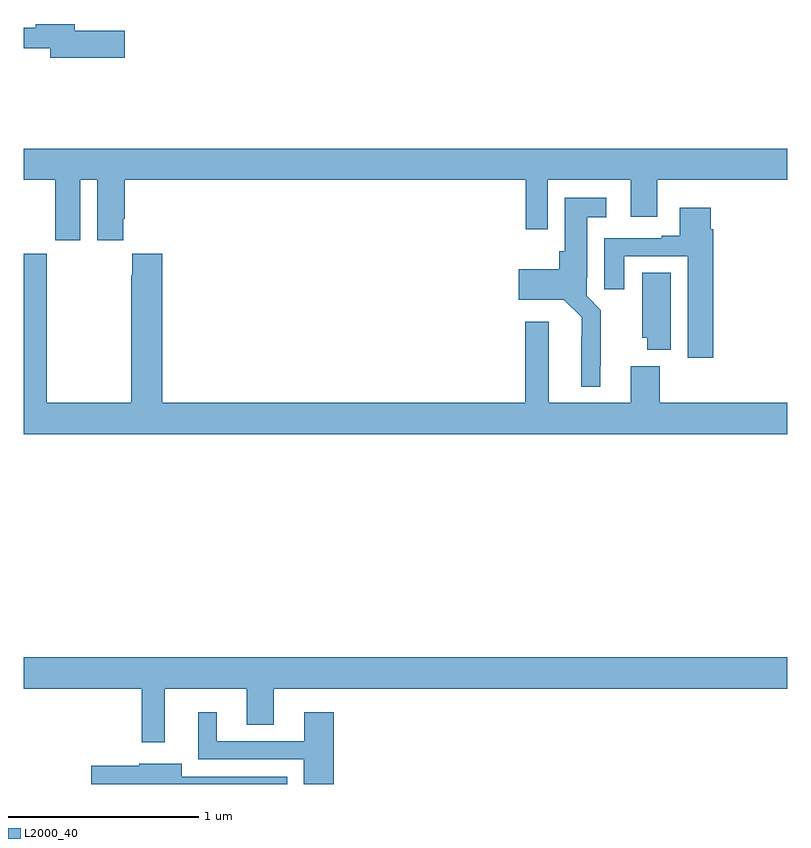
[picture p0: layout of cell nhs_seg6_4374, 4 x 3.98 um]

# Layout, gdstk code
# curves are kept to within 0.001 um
import gdstk
lib = gdstk.Library(unit=1e-6, precision=1e-09)
def P(c, l, *ps):  # polygons
    for p in ps: c.add(gdstk.Polygon(p, *l))
L2000_40 = (2000, 40)

nhs_seg6_4374 = lib.new_cell('nhs_seg6_4374')
P(nhs_seg6_4374, L2000_40, [(369.529,953.444),(369.268,953.444),(369.268,953.48),(369.064,953.48),(369.064,953.461),(369,953.461),(369,953.352),(369.14,953.352),(369.14,953.302),(369.529,953.302)],
  [(369.298,952.664),(369.386,952.664),(369.386,952.347),(369.523,952.347),(369.523,952.459),(369.53,952.459),(369.53,952.664),(371.629,952.664),(371.629,952.404),(371.745,952.404),(371.745,952.664),(372.179,952.664),(372.179,952.47),(372.319,952.47),(372.319,952.664),(373,952.664),(373,952.828),(369,952.828),(369,952.664),(369.167,952.664),(369.167,952.347),(369.298,952.347)],
  [(372.019,951.691),(372.023,951.691),(372.023,951.982),(371.949,952.056),(371.949,952.15),(371.953,952.15),(371.953,952.469),(372.052,952.469),(372.052,952.57),(371.834,952.57),(371.834,952.29),(371.804,952.29),(371.804,952.195),(371.592,952.195),(371.592,952.037),(371.829,952.037),(371.922,951.944),(371.921,951.581),(372.019,951.581)],
  [(372.611,952.406),(372.598,952.406),(372.598,952.519),(372.437,952.519),(372.437,952.372),(372.341,952.372),(372.341,952.359),(372.041,952.359),(372.041,952.092),(372.145,952.092),(372.145,952.263),(372.479,952.263),(372.479,951.732),(372.611,951.732)],
  [(373,951.496),(372.332,951.496),(372.332,951.688),(372.179,951.688),(372.179,951.496),(371.749,951.496),(371.749,951.922),(371.627,951.922),(371.627,951.496),(369.725,951.496),(369.725,952.276),(369.569,952.276),(369.569,952.163),(369.565,952.163),(369.565,951.496),(369.12,951.496),(369.12,952.276),(369,952.276),(369,951.332),(373,951.332)],
  [(372.388,952.178),(372.239,952.178),(372.239,951.837),(372.266,951.837),(372.266,951.773),(372.388,951.773)],
  [(369.739,950),(370.169,950),(370.169,949.81),(370.309,949.81),(370.309,950),(373,950),(373,950.164),(369,950.164),(369,950),(369.618,950),(369.618,949.719),(369.739,949.719)],
  [(370.625,949.876),(370.469,949.876),(370.469,949.725),(370.012,949.725),(370.012,949.876),(369.914,949.876),(369.914,949.629),(370.466,949.629),(370.466,949.5),(370.625,949.5)],
  [(370.381,949.539),(369.829,949.539),(369.829,949.606),(369.606,949.606),(369.606,949.596),(369.354,949.596),(369.354,949.5),(370.381,949.5)])

lib.write_gds('nhs_seg6_4374.gds')
